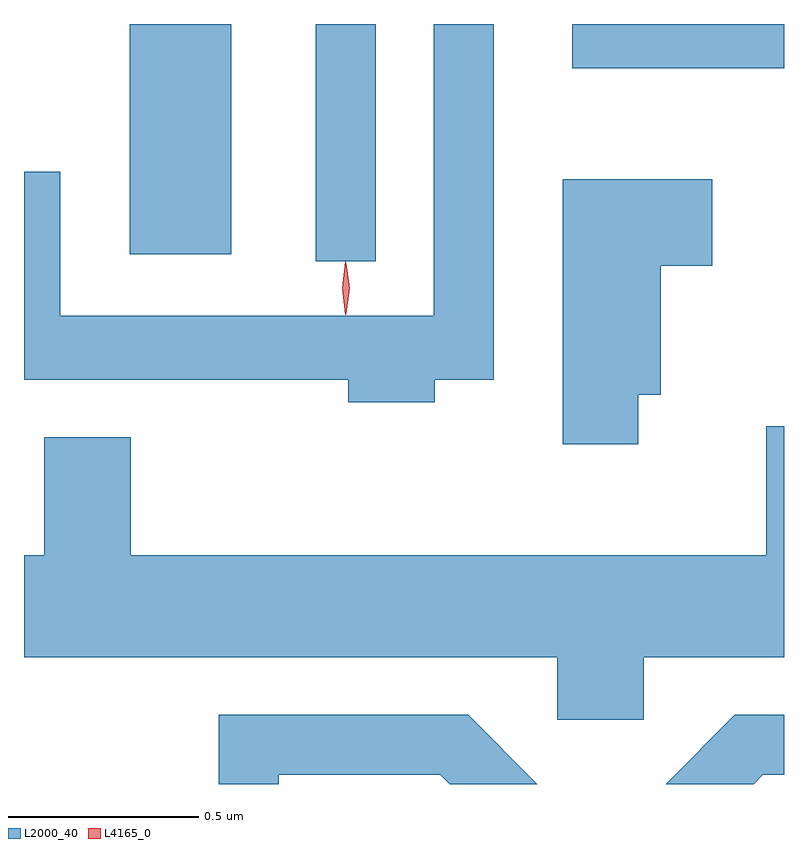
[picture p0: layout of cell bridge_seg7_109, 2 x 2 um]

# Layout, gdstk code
import gdstk
lib = gdstk.Library(unit=1e-6, precision=1e-09)
def R(c, l, rs):  # rectangles x0, y0, x1, y1
    for r in rs: c.add(gdstk.rectangle(r[:2], r[2:], *l))
def P(c, l, *ps):  # polygons
    for p in ps: c.add(gdstk.Polygon(p, *l))
L2000_40 = (2000, 40)
L4165_0 = (4165, 0)

bridge_seg7_109 = lib.new_cell('bridge_seg7_109')
R(bridge_seg7_109, L2000_40, [(1583.646,1793.058,1583.804,1793.682), (1583.156,1793.076,1583.424,1793.682), (1584.321,1793.566,1584.878,1793.682)])
P(bridge_seg7_109, L2000_40, [(1583.959,1792.746),(1584.114,1792.746),(1584.114,1793.682),(1583.956,1793.682),(1583.956,1792.914),(1582.974,1792.914),(1582.974,1793.293),(1582.878,1793.293),(1582.878,1792.746),(1583.731,1792.746),(1583.731,1792.686),(1583.959,1792.686)],
  [(1584.494,1792.706),(1584.554,1792.706),(1584.554,1793.046),(1584.689,1793.046),(1584.689,1793.274),(1584.296,1793.274),(1584.296,1792.576),(1584.494,1792.576)],
  [(1583.159,1792.594),(1582.931,1792.594),(1582.931,1792.284),(1582.878,1792.284),(1582.878,1792.016),(1584.281,1792.016),(1584.281,1791.851),(1584.509,1791.851),(1584.509,1792.016),(1584.878,1792.016),(1584.878,1792.624),(1584.831,1792.624),(1584.831,1792.284),(1583.159,1792.284)],
  [(1584.822,1791.706),(1584.878,1791.706),(1584.878,1791.864),(1584.749,1791.864),(1584.567,1791.682),(1584.798,1791.682)],
  [(1583.549,1791.706),(1583.974,1791.706),(1583.998,1791.682),(1584.229,1791.682),(1584.047,1791.864),(1583.391,1791.864),(1583.391,1791.682),(1583.549,1791.682)])
P(bridge_seg7_109, L4165_0, [(1583.724,1792.917),(1583.715,1792.986),(1583.724,1793.056),(1583.725,1793.056),(1583.725,1793.056),(1583.735,1792.986),(1583.725,1792.917),(1583.725,1792.917)],
  [(1583.725,1792.919),(1583.725,1792.92),(1583.715,1792.986),(1583.725,1793.052),(1583.725,1793.053),(1583.726,1793.052),(1583.735,1792.986),(1583.726,1792.92)])

lib.write_gds('bridge_seg7_109.gds')
